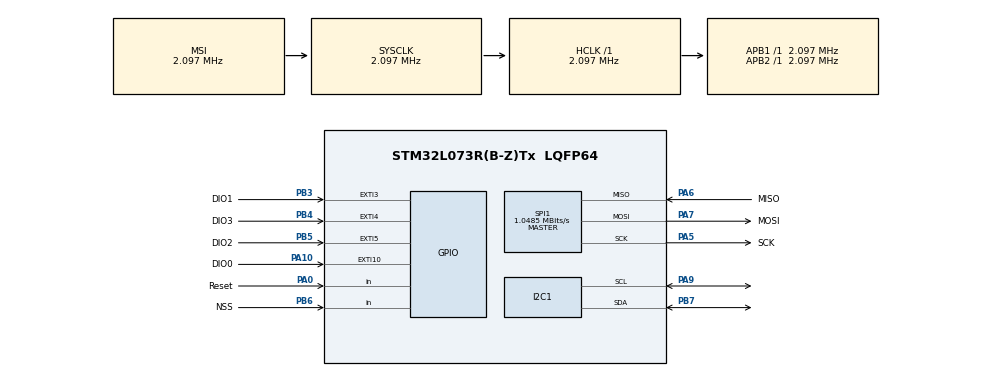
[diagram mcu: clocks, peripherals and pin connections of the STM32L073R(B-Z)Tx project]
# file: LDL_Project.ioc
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LPTIM1.ClockPrescaler=LPTIM_PRESCALER_DIV128
Mcu.Family=STM32L0
Mcu.Name=STM32L073R(B-Z)Tx
Mcu.Package=LQFP64
NVIC.EXTI2_3_IRQn=true\:1\:0\:true\:false\:true\:true\:true
NVIC.EXTI4_15_IRQn=true\:1\:0\:true\:false\:true\:true\:true
NVIC.LPTIM1_IRQn=true\:1\:0\:true\:false\:true\:true\:true
NVIC.PVD_IRQn=true\:0\:0\:false\:false\:true\:true\:true
PA0.GPIO_Label=Reset
PA0.GPIO_PuPd=GPIO_PULLUP
PA0.Signal=GPIO_Input
PA10.GPIO_Label=DIO0
PA10.Signal=GPXTI10
PA13.Mode=Serial_Wire
PA13.Signal=SYS_SWDIO
PA14.Mode=Serial_Wire
PA14.Signal=SYS_SWCLK
PA5.GPIO_Label=SCK
PA5.Mode=Full_Duplex_Master
PA5.Signal=SPI1_SCK
PA6.GPIO_Label=MISO
PA6.Mode=Full_Duplex_Master
PA6.Signal=SPI1_MISO
PA7.GPIO_Label=MOSI
PA7.Mode=Full_Duplex_Master
PA7.Signal=SPI1_MOSI
PA9.Mode=I2C
PA9.Signal=I2C1_SCL
PB3.GPIO_Label=DIO1
PB3.Signal=GPXTI3
PB4.GPIO_Label=DIO3
PB4.Signal=GPXTI4
PB5.GPIO_Label=DIO2
PB5.Signal=GPXTI5
PB6.GPIO_Label=NSS
PB6.Signal=GPIO_Input
PB7.Mode=I2C
PB7.Signal=I2C1_SDA
ProjectManager.HeapSize=0x200
ProjectManager.StackSize=0x400
ProjectManager.TargetToolchain=STM32CubeIDE
RCC.AHBFreq_Value=2097000
RCC.APB1Freq_Value=2097000
RCC.APB1TimFreq_Value=2097000
RCC.APB2Freq_Value=2097000
RCC.APB2TimFreq_Value=2097000
RCC.HSE_VALUE=8000000
RCC.HSI16_VALUE=16000000
RCC.HSI48_VALUE=48000000
RCC.HSI_VALUE=16000000
RCC.LSEState=RCC_LSE_ON
RCC.LSE_VALUE=32768
RCC.LptimClockSelection=RCC_LPTIM1CLKSOURCE_LSE
RCC.MSI_VALUE=2097000
RCC.SYSCLKFreq_VALUE=2097000
RCC.VCOOutputFreq_Value=48000000
SPI1.CalculateBaudRate=1.0485 MBits/s
SPI1.Direction=SPI_DIRECTION_2LINES
SPI1.Mode=SPI_MODE_MASTER
SPI1.VirtualType=VM_MASTER
VP_LPTIM1_VS_LPTIM_counterModeInternalClock.Mode=Counts__internal_clock_event_00
board=NUCLEO-L073RZ

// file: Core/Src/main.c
/* USER CODE BEGIN Header */
/**
  ******************************************************************************
  * @file           : main.c
  * @brief          : Main program body
  ******************************************************************************
  * @attention
  *
  * <h2><center>&copy; Copyright (c) 2020 STMicroelectronics.
  * All rights reserved.</center></h2>
  *
  * This software component is licensed by ST under BSD 3-Clause license,
  * the "License"; You may not use this file except in compliance with the
  * License. You may obtain a copy of the License at:
  *                        opensource.org/licenses/BSD-3-Clause
  *
  ******************************************************************************
  */
/* USER CODE END Header */

#include "main.h"

/* USER CODE BEGIN Includes */
#include <stdlib.h>
#include <string.h>
#include "ldl_radio.h"
#include "ldl_mac.h"
#include "ldl_sm.h"
#include "ldl_system.h"
/* USER CODE END Includes */

I2C_HandleTypeDef hi2c1;

LPTIM_HandleTypeDef hlptim1;

SPI_HandleTypeDef hspi1;

/* USER CODE BEGIN PV */

uint8_t temp;
uint8_t transmit=0;
uint8_t reciev=0;
uint8_t Cycle1;

uint32_t test1;
HAL_StatusTypeDef status;
const char *TAG = "main";
uint16_t Lpcounter;

//NOTEA Variable des paramatres environnementaux

uint8_t ENV[9];

I2C_HandleTypeDef restI2C;

SPI_HandleTypeDef resetHspi1;
uint8_t adresses[] = {0x0F ,0x10 ,0x20 ,0x21 ,
		0x22 ,0x23 ,0x24 ,0x25 ,0x27 ,0x28 ,0x29 ,0x2A
		,0x30 ,0x31 ,0x08 ,0x09 ,0x0A};

uint8_t register_[18];

/////////////////////LDL_Variables

struct ldl_radio radio;
struct ldl_mac mac;
struct ldl_sm sm;

const uint8_t device_eui [] = {
		0x00, 0xFC, 0xEC, 0x2E, 0xCB, 0x78, 0x2D, 0x2B
};

const uint8_t application_eui [] = {
		 0x70, 0xB3, 0xD5, 0x7E, 0xD0, 0x03, 0x29, 0x9D
};

const uint8_t application_key [] = {

		0x20, 0xB5, 0xDF, 0x56, 0xBA, 0xB0, 0x33, 0x90, 0x38, 0xFA, 0xCF, 0xCD, 0xDB, 0x5D, 0xDA, 0xBF
};

const uint8_t nwk_key_ptr [] = {
		0x20, 0xB5, 0xDF, 0x56, 0xBA, 0xB0, 0x33, 0x90, 0x38, 0xFA, 0xCF, 0xCD, 0xDB, 0x5D, 0xDA, 0xBF
};

/* USER CODE END PV */

void SystemClock_Config(void);
static void MX_GPIO_Init(void);
static void MX_I2C1_Init(void);
static void MX_LPTIM1_Init(void);
static void MX_SPI1_Init(void);
/* USER CODE BEGIN PFP */

////
//printf debug

///////////

uint8_t Sensor_IO_Read( void *handle,
						uint8_t SensorAddr,
						uint8_t ReadAddr,
						uint8_t *pBuffer,
						uint16_t nBytesToRead );

uint8_t Sensor_IO_Write( void *handle,
						 uint8_t SensorAddr,
						 uint8_t WriteAddr,
						 uint8_t *pBuffer,
						 uint16_t nBytesToWrite );

void LPS25HB_HTS221_Set_Config(void *handle);

uint32_t LPS25HB_Pressure_Read( void * handle);

void HTS221_Get_Temperature_Humidity(void *handle,
									 int16_t *temperature,
									 uint16_t *humidity);
void Execute_cycle(void);

//lora stuff
void app_handler(void *app,
				 enum ldl_mac_response_type type,
				 const union ldl_mac_response_arg *arg);

//UNCOM dont forget this
void enable_interrupts(void);

uint32_t GetTimer();
/* USER CODE END PFP */

int main(void)
{
  /* USER CODE BEGIN 1 */
//we send empty packets at first
//then we configure
  /* USER CODE END 1 */

  /* MCU Configuration--------------------------------------------------------*/

  /* Reset of all peripherals, Initializes the Flash interface and the Systick. */
  HAL_Init();

  /* Configure the system clock */
  SystemClock_Config();

  /* Initialize all configured peripherals */
  MX_GPIO_Init();
  MX_I2C1_Init();
  MX_LPTIM1_Init();
  MX_SPI1_Init();
  /* USER CODE BEGIN 2 */
  //PAST HERE
  initialize();
  printf("hello world");

//Initialize security module
  LDL_SM_init(&sm, application_key, nwk_key_ptr);
  LDL_INFO(TAG,"SM INIT");

//Initialise the radio

  LDL_Radio_init(&radio, LDL_RADIO_SX1272, NULL);
  LDL_INFO(TAG,"RADIO INIT");
  /* This radio has two power amplifiers. The amplifier in use
   * depends on the hardware (i.e. which pin the PCB traces connect).
   *
   * You have to tell the driver which amplifier is connected:
   *
   * - The Semtech MBED SX1272 shield uses LDL_RADIO_PA_RFO
   * - The HopeRF RFM95 SX1276 module uses LDL_RADIO_PA_BOOST
   *
   * */
  LDL_Radio_setPA(&radio, LDL_RADIO_PA_RFO);
  LDL_INFO(TAG,"RADIO PA INIT")

//Initialise The MAC LAYER
  struct ldl_mac_init_arg arg = {0};

  arg.radio = &radio;
  arg.handler = app_handler;
  arg.app = NULL;
  arg.sm = &sm;
  arg.joinEUI = application_eui;
  arg.devEUI = device_eui;

  LDL_MAC_init(&mac, LDL_EU_863_870, &arg);
  LDL_INFO(TAG,"MAC INIT");

  enable_interrupts();
  LDL_INFO(TAG,"INTERRUPT ENABLE");

  HAL_LPTIM_Counter_Start_IT(&hlptim1, 0xffff);
  //toDelete
//  for(;;){
//  HAL_SPI_TransmitReceive(&hspi1, &transmit, &reciev, 1, 0xfff);
//  HAL_GPIO_WritePin(NSS_GPIO_Port, NSS_Pin, GPIO_PIN_SET);
//  transmit++;
//  HAL_Delay(1000);
//
//  }
  /* USER CODE END 2 */
test1=(LDL_System_tps()) << 4U;
  /* Infinite loop */
  while (1)
  {

    /* USER CODE BEGIN 3 */
	  if(LDL_MAC_ready(&mac)){
		  LDL_INFO(TAG,"MAC READY");
	             if(LDL_MAC_joined(&mac)){
	            	 LDL_INFO(TAG,"JOINED ...");
	                 LDL_MAC_unconfirmedData(&mac, 1U, NULL, 0U, NULL);
	                 LDL_INFO(TAG,"UNCONFIRMED DATA");
	             }
	             else{

	                 LDL_MAC_otaa(&mac);
	                 LDL_INFO(TAG,"OTAA");
	             }
	         }
	  LDL_MAC_process(&mac);
//uint32_t waw;
//waw=(LDL_MAC_ticksUntilNextEvent(&mac) /(LDL_System_tps()/1000));
//	  HAL_Delay(waw);

  }
  /* USER CODE END 3 */
}

void SystemClock_Config(void)
{
  RCC_OscInitTypeDef RCC_OscInitStruct = {0};
  RCC_ClkInitTypeDef RCC_ClkInitStruct = {0};
  RCC_PeriphCLKInitTypeDef PeriphClkInit = {0};

  /** Configure the main internal regulator output voltage
  */
  __HAL_PWR_VOLTAGESCALING_CONFIG(PWR_REGULATOR_VOLTAGE_SCALE1);
  /** Initializes the CPU, AHB and APB busses clocks
  */
  RCC_OscInitStruct.OscillatorType = RCC_OSCILLATORTYPE_LSE|RCC_OSCILLATORTYPE_MSI;
  RCC_OscInitStruct.LSEState = RCC_LSE_ON;
  RCC_OscInitStruct.MSIState = RCC_MSI_ON;
  RCC_OscInitStruct.MSICalibrationValue = 0;
  RCC_OscInitStruct.MSIClockRange = RCC_MSIRANGE_5;
  RCC_OscInitStruct.PLL.PLLState = RCC_PLL_NONE;
  if (HAL_RCC_OscConfig(&RCC_OscInitStruct) != HAL_OK)
  {
    Error_Handler(__func__);
  }
  /** Initializes the CPU, AHB and APB busses clocks
  */
  RCC_ClkInitStruct.ClockType = RCC_CLOCKTYPE_HCLK|RCC_CLOCKTYPE_SYSCLK
                              |RCC_CLOCKTYPE_PCLK1|RCC_CLOCKTYPE_PCLK2;
  RCC_ClkInitStruct.SYSCLKSource = RCC_SYSCLKSOURCE_MSI;
  RCC_ClkInitStruct.AHBCLKDivider = RCC_SYSCLK_DIV1;
  RCC_ClkInitStruct.APB1CLKDivider = RCC_HCLK_DIV1;
  RCC_ClkInitStruct.APB2CLKDivider = RCC_HCLK_DIV1;

  if (HAL_RCC_ClockConfig(&RCC_ClkInitStruct, FLASH_LATENCY_0) != HAL_OK)
  {
    Error_Handler(__func__);
  }
  PeriphClkInit.PeriphClockSelection = RCC_PERIPHCLK_I2C1|RCC_PERIPHCLK_LPTIM1;
  PeriphClkInit.I2c1ClockSelection = RCC_I2C1CLKSOURCE_PCLK1;
  PeriphClkInit.LptimClockSelection = RCC_LPTIM1CLKSOURCE_LSE;

  if (HAL_RCCEx_PeriphCLKConfig(&PeriphClkInit) != HAL_OK)
  {
    Error_Handler(__func__);
  }
}

static void MX_I2C1_Init(void)
{

  hi2c1.Instance = I2C1;
  hi2c1.Init.Timing = 0x00000708;
  hi2c1.Init.OwnAddress1 = 0;
  hi2c1.Init.AddressingMode = I2C_ADDRESSINGMODE_7BIT;
  hi2c1.Init.DualAddressMode = I2C_DUALADDRESS_DISABLE;
  hi2c1.Init.OwnAddress2 = 0;
  hi2c1.Init.OwnAddress2Masks = I2C_OA2_NOMASK;
  hi2c1.Init.GeneralCallMode = I2C_GENERALCALL_DISABLE;
  hi2c1.Init.NoStretchMode = I2C_NOSTRETCH_DISABLE;
  if (HAL_I2C_Init(&hi2c1) != HAL_OK)
  {
    Error_Handler(__func__);
  }
  /** Configure Analogue filter
  */
  if (HAL_I2CEx_ConfigAnalogFilter(&hi2c1, I2C_ANALOGFILTER_ENABLE) != HAL_OK)
  {
    Error_Handler(__func__);
  }
  /** Configure Digital filter
  */
  if (HAL_I2CEx_ConfigDigitalFilter(&hi2c1, 0) != HAL_OK)
  {
    Error_Handler(__func__);
  }

}

static void MX_LPTIM1_Init(void)
{

  hlptim1.Instance = LPTIM1;
  hlptim1.Init.Clock.Source = LPTIM_CLOCKSOURCE_APBCLOCK_LPOSC;
  hlptim1.Init.Clock.Prescaler = LPTIM_PRESCALER_DIV2;
  hlptim1.Init.Trigger.Source = LPTIM_TRIGSOURCE_SOFTWARE;
  hlptim1.Init.OutputPolarity = LPTIM_OUTPUTPOLARITY_HIGH;
  hlptim1.Init.UpdateMode = LPTIM_UPDATE_IMMEDIATE;
  hlptim1.Init.CounterSource = LPTIM_COUNTERSOURCE_INTERNAL;
  if (HAL_LPTIM_Init(&hlptim1) != HAL_OK)
  {
    Error_Handler(__func__);
  }

}

static void MX_SPI1_Init(void)
{

  /* SPI1 parameter configuration*/
  hspi1.Instance = SPI1;
  hspi1.Init.Mode = SPI_MODE_MASTER;
  hspi1.Init.Direction = SPI_DIRECTION_2LINES;
  hspi1.Init.DataSize = SPI_DATASIZE_8BIT;
  hspi1.Init.CLKPolarity = SPI_POLARITY_LOW;
  hspi1.Init.CLKPhase = SPI_PHASE_1EDGE;
  hspi1.Init.NSS = SPI_NSS_SOFT;
  hspi1.Init.BaudRatePrescaler = SPI_BAUDRATEPRESCALER_2;
  hspi1.Init.FirstBit = SPI_FIRSTBIT_MSB;
  hspi1.Init.TIMode = SPI_TIMODE_DISABLE;
  hspi1.Init.CRCCalculation = SPI_CRCCALCULATION_DISABLE;
  hspi1.Init.CRCPolynomial = 7;
  if (HAL_SPI_Init(&hspi1) != HAL_OK)
  {
    Error_Handler(__func__);
  }

}

static void MX_GPIO_Init(void)
{
  GPIO_InitTypeDef GPIO_InitStruct = {0};

  /* GPIO Ports Clock Enable */
  __HAL_RCC_GPIOA_CLK_ENABLE();
  __HAL_RCC_GPIOB_CLK_ENABLE();

  /*Configure GPIO pin : Reset_Pin */
  GPIO_InitStruct.Pin = Reset_Pin;
  GPIO_InitStruct.Mode = GPIO_MODE_OUTPUT_PP;
  GPIO_InitStruct.Pull = GPIO_PULLUP;
  HAL_GPIO_Init(Reset_GPIO_Port, &GPIO_InitStruct);

  /*Configure GPIO pin : DIO0_Pin */
  GPIO_InitStruct.Pin = DIO0_Pin;
  GPIO_InitStruct.Mode = GPIO_MODE_IT_RISING;
  GPIO_InitStruct.Pull = GPIO_NOPULL;
  HAL_GPIO_Init(DIO0_GPIO_Port, &GPIO_InitStruct);

  /*Configure GPIO pins : DIO1_Pin DIO3_Pin DIO2_Pin */
  GPIO_InitStruct.Pin = DIO1_Pin|DIO3_Pin|DIO2_Pin;
  GPIO_InitStruct.Mode = GPIO_MODE_IT_RISING;
  GPIO_InitStruct.Pull = GPIO_NOPULL;
  HAL_GPIO_Init(GPIOB, &GPIO_InitStruct);

  /*Configure GPIO pin : NSS_Pin */
  GPIO_InitStruct.Pin = NSS_Pin;
  GPIO_InitStruct.Mode = GPIO_MODE_OUTPUT_PP;
  GPIO_InitStruct.Pull = GPIO_NOPULL;
  HAL_GPIO_Init(NSS_GPIO_Port, &GPIO_InitStruct);

  HAL_GPIO_WritePin(NSS_GPIO_Port, NSS_Pin, GPIO_PIN_SET);

}

/* USER CODE BEGIN 4 */

//Projects stuff

uint8_t Sensor_IO_Write( void *handle,uint8_t SensorAddr, uint8_t WriteAddr, uint8_t *pBuffer, uint16_t nBytesToWrite ){

	//LDL_SYSTEM_ENTER_CRITICAL(void)
	if ( nBytesToWrite > 1 ) WriteAddr |= 0x80;  /* Enable I2C multi-bytes Write */
	status=HAL_I2C_Mem_Write(handle,SensorAddr,WriteAddr,1,pBuffer,nBytesToWrite,0xff);

//	LDL_SYSTEM_LEAVE_CRITICAL(void)

	if(status!=HAL_OK){
		Error_Handler(__func__);
		  return 1;
	  }
	  return 0;
}
uint8_t Sensor_IO_Read( void *handle,uint8_t SensorAddr, uint8_t ReadAddr, uint8_t *pBuffer, uint16_t nBytesToRead ){
	//LDL_SYSTEM_ENTER_CRITICAL(void)

	if ( nBytesToRead > 1 ) ReadAddr |= 0x80; /* Enable I2C multi-bytes Read */
	status = HAL_I2C_Mem_Read(handle,SensorAddr,ReadAddr,1,pBuffer,nBytesToRead,0xff);
	//LDL_SYSTEM_LEAVE_CRITICAL(void)

	if(status!=HAL_OK){
		Error_Handler(__func__);
		  return 1;
	  }
	  return 0;
}

void LPS25HB_HTS221_Set_Config(void *handle)
{

	uint8_t Conf_reg1;
	uint8_t Conf_reg2;
	uint8_t Conf_reg3;
	uint8_t Interrupt_conf;
	uint8_t Threshold_L=(uint8_t)(16 * THRESHOLD);
	uint8_t Threshold_H=(uint8_t)(((uint16_t)(16 * THRESHOLD)) >> 8);
///////////////////////resetAZ

Conf_reg1 =  (LPS25HB_CTRL_REG1_PD | LPS25HB_CTRL_REG1_ODR_1HZ );
				status |= HAL_I2C_Mem_Write(&hi2c1,LPS25HB_ADDRESS_WRITE,LPS25HB_CTRL_REG1,1,&Conf_reg1,1,0xff);

Conf_reg2 = (LPS25HB_CTRL_REG2_AUTOZERO);
	 	 	 status |=HAL_I2C_Mem_Write(&hi2c1,LPS25HB_ADDRESS_WRITE,LPS25HB_CTRL_REG2,1,&Conf_reg2,1,0xff);

Conf_reg3=(LPS25HB_CTRL_REG3_INT_S_Pressure_LH );
	 	 	 	 status |=HAL_I2C_Mem_Write(&hi2c1,LPS25HB_ADDRESS_WRITE,LPS25HB_CTRL_REG3,1,&Conf_reg3,1,0xff);

Interrupt_conf= (LPS25HB_INTERRUPT_CFG_LIR );
status |=HAL_I2C_Mem_Write(&hi2c1,LPS25HB_ADDRESS_WRITE,LPS25HB_INTERRUPT_CFG,1,&Interrupt_conf,1,0xff);

status |=HAL_I2C_Mem_Write(&hi2c1,LPS25HB_ADDRESS_WRITE,LPS25HB_THS_P_L,1,&Threshold_L,1,0xff);

status |=HAL_I2C_Mem_Write(&hi2c1,LPS25HB_ADDRESS_WRITE,LPS25HB_THS_P_H,1,&Threshold_H,1,0xff);

status |=HAL_I2C_Mem_Read(&hi2c1,LPS25HB_ADDRESS_READ,LPS25HB_INTERRUPT_CFG,1,&Interrupt_conf,1,0xff);

Interrupt_conf|=(LPS25HB_INTERRUPT_CFG_PL_E | LPS25HB_INTERRUPT_CFG_PH_E);

status |=HAL_I2C_Mem_Write(&hi2c1,LPS25HB_ADDRESS_WRITE,LPS25HB_INTERRUPT_CFG,1,&Interrupt_conf,1,0xff);

status |=HAL_I2C_Mem_Read(&hi2c1,LPS25HB_ADDRESS_READ,LPS25HB_CTRL_REG1,1,&Conf_reg1,1,0xff);

Conf_reg1 |= (LPS25HB_CTRL_REG1_DIF_E );

status |=HAL_I2C_Mem_Write(&hi2c1,LPS25HB_ADDRESS_WRITE,LPS25HB_CTRL_REG1,1,&Conf_reg1,1,0xff);

//status |=HAL_I2C_Mem_Read(&hi2c1,LPS25HB_ADDRESS_READ,LPS25HB_CTRL_REG2,1,&Conf_reg2,1,0xff);

///////////////////////////////////////

				uint8_t buffer[2];

				  Sensor_IO_Read(handle, HTS221_ADDRESS_READ, HTS221_AV_CONF_REG, buffer, 1);

				  buffer[0] &= ~HTS221_AVGT ;
				  buffer[0] &= ~HTS221_AVGH ;

				  Sensor_IO_Write(handle, HTS221_ADDRESS_WRITE, HTS221_AV_CONF_REG, &buffer[0], 1);

				  Sensor_IO_Read(handle, HTS221_ADDRESS_READ, HTS221_CTRL_REG1, buffer, 2);

				  buffer[0] &= 0x78;

				  buffer[0] |= (HTS221_ODR | HTS221_BDU | HTS221_PD);

				  buffer[1] &= 0x7C;

				  Sensor_IO_Write(handle, HTS221_ADDRESS_WRITE, HTS221_CTRL_REG1, buffer, 2);

if(status!=HAL_OK){
	Error_Handler(__func__);
}
				  /* EXTI interrupt init*/
				  HAL_NVIC_SetPriority(EXTI4_15_IRQn, 1, 0);
				  HAL_NVIC_EnableIRQ(EXTI4_15_IRQn);
}

///////////////////////////
//read value

uint32_t LPS25HB_Pressure_Read( void * handle){

	//Local Variables
	uint8_t Buffer[3];
	uint8_t Buffer1[3];
	int32_t Raw_Pressure = 0;
	int32_t Ref_Pressure = 0;

/*	do{
		HAL_I2C_Mem_Read(&hi2c1,LPS25HB_ADDRESS_READ,LPS25HB_STATUS_REG,1,&STATUS,1,0xff);
	}while((STATUS & LPS25HB_STATUS_REG_PDA) == 0);*/
	//Read the pressure output registers
	Sensor_IO_Read(handle, LPS25HB_ADDRESS_READ, LPS25HB_PRESS_OUT_XL, Buffer, 3);

	Sensor_IO_Read(handle, LPS25HB_ADDRESS_READ, LPS25HB_PRESS_REF_XL, Buffer1, 3);

	//TRANSFOREME TO RAW PRESSURE
	Raw_Pressure = ((Buffer1[2] << 16) | (Buffer[1] << 8) | Buffer[0]);
	Ref_Pressure = ((Buffer1[2] << 16) | (Buffer1[1] << 8) | Buffer1[0]);

	//convert the 2's complement 24 bit to 2's complement 32 bit
	if (Raw_Pressure & 0x00800000)    // negative number
		{
		//convert to positive number
		Raw_Pressure |= 0xFF000000;
	  }
	if (Ref_Pressure & 0x00800000)    // negative number
		{
		//convert to positive number
		Ref_Pressure |= 0xFF000000;
	  }
	//Calculate Pressure in mbar
	return (Raw_Pressure+Ref_Pressure);
}

void HTS221_Get_Temperature_Humidity(void *handle, int16_t *temperature,uint16_t *humidity)
{
 int16_t T0_out, T1_out, T_out, T0_degC_x8_u16, T1_degC_x8_u16;
 int16_t T0_degC, T1_degC;
 uint8_t buffer[4], tmp;
 float   tmp_f;

Sensor_IO_Read(handle, HTS221_ADDRESS_READ, HTS221_T0_DEGC_X8, buffer, 2);

Sensor_IO_Read(handle, HTS221_ADDRESS_READ, HTS221_T0_T1_DEGC_H2, &tmp, 1);

 T0_degC_x8_u16 = (((uint16_t)(tmp & 0x03)) << 8) | ((uint16_t)buffer[0]);
 T1_degC_x8_u16 = (((uint16_t)(tmp & 0x0C)) << 6) | ((uint16_t)buffer[1]);
 T0_degC = T0_degC_x8_u16 >> 3;
 T1_degC = T1_degC_x8_u16 >> 3;

Sensor_IO_Read(handle, HTS221_ADDRESS_READ, HTS221_T0_OUT_L, buffer, 4);

 T0_out = (((uint16_t)buffer[1]) << 8) | (uint16_t)buffer[0];
 T1_out = (((uint16_t)buffer[3]) << 8) | (uint16_t)buffer[2];

Sensor_IO_Read(handle, HTS221_ADDRESS_READ, HTS221_TEMP_OUT_L_REG, buffer, 2);

 T_out = (((uint16_t)buffer[1]) << 8) | (uint16_t)buffer[0];

 tmp_f = (float)(T_out - T0_out) * (float)(T1_degC - T0_degC) / (float)(T1_out - T0_out)  +  T0_degC;
 tmp_f *= 10.0f;

 *temperature = ( int16_t )tmp_f;
 ////////////////////////////////////////////////

 int16_t H0_T0_out, H1_T0_out, H_T_out;
 int16_t H0_rh, H1_rh;
 tmp_f = buffer[0] = buffer[1] = buffer[2] =0;;

Sensor_IO_Read(handle, HTS221_ADDRESS_READ, HTS221_H0_RH_X2, buffer, 2);

 H0_rh = buffer[0] >> 1;
 H1_rh = buffer[1] >> 1;
Sensor_IO_Read(handle, HTS221_ADDRESS_READ, HTS221_H0_T0_OUT_L, buffer, 2);

 H0_T0_out = (((uint16_t)buffer[1]) << 8) | (uint16_t)buffer[0];

Sensor_IO_Read(handle, HTS221_ADDRESS_READ, HTS221_H1_T0_OUT_L, buffer, 2);

 H1_T0_out = (((uint16_t)buffer[1]) << 8) | (uint16_t)buffer[0];

Sensor_IO_Read(handle, HTS221_ADDRESS_READ, HTS221_HR_OUT_L_REG, buffer, 2);

 H_T_out = (((uint16_t)buffer[1]) << 8) | (uint16_t)buffer[0];

 tmp_f = (float)(H_T_out - H0_T0_out) * (float)(H1_rh - H0_rh) / (float)(H1_T0_out - H0_T0_out)  +  H0_rh;
 tmp_f *= 10.0f;

 *humidity = ( tmp_f > 1000.0f ) ? 1000
          : ( tmp_f <    0.0f ) ?    0
          : ( uint16_t )tmp_f;

}

////////////////////////////////

void Execute_cycle(void)
{
	//cycle captage
	if (Cycle1==0) {

		SET_BIT(PWR->CR, (PWR_CR_LPRUN ));

		MX_I2C1_Init();
	 	HAL_ResumeTick();

	//	for (int i = 0; i < 17; ++i) {
	//		 HAL_I2C_Mem_Read(&hi2c1,LPS25HB_ADDRESS_READ,adresses[i],1,&register_[i],1,0xff);
	//	 }

	 	//Read sensors value
	 	uint32_t temp;
	 	uint16_t temp2;
	 	uint16_t temp3;

	 	temp =LPS25HB_Pressure_Read(&hi2c1);
	 	ENV[0]=(uint8_t)temp;
	 	ENV[1]=(uint8_t)(temp>>8);
	 	ENV[2]=(uint8_t)(temp>>16);

	 	HTS221_Get_Temperature_Humidity(&hi2c1, &temp2, &temp3);

		ENV[3]=(uint8_t)temp2;
	 	ENV[4]=(uint8_t)(temp3>>8);
	 	ENV[5]=(uint8_t)(temp2);
		ENV[6]=(uint8_t)(temp3>>8);

		//set the new pressure in the pressure refrence regster
		{
			uint8_t temp=0;
			status|= HAL_I2C_Mem_Read(&hi2c1,LPS25HB_ADDRESS_READ,LPS25HB_INTERRUPT_Source,1,&temp,1,0xff);
			 temp=0;

			temp =  ( LPS25HB_CTRL_REG1_ODR_1HZ );
			status|= HAL_I2C_Mem_Write(&hi2c1,LPS25HB_ADDRESS_WRITE,LPS25HB_CTRL_REG1,1,&temp,1,0xff);

			temp =  ( LPS25HB_CTRL_REG1_ODR_1HZ | LPS25HB_CTRL_REG1_RESET_AZ);
			status|= HAL_I2C_Mem_Write(&hi2c1,LPS25HB_ADDRESS_WRITE,LPS25HB_CTRL_REG1,1,&temp,1,0xff);

			temp = (LPS25HB_CTRL_REG2_AUTOZERO);
			status |=HAL_I2C_Mem_Write(&hi2c1,LPS25HB_ADDRESS_WRITE,LPS25HB_CTRL_REG2,1,&temp,1,0xff);

			temp =  (LPS25HB_CTRL_REG1_PD | LPS25HB_CTRL_REG1_ODR_25HZ );
			status|= HAL_I2C_Mem_Write(&hi2c1,LPS25HB_ADDRESS_WRITE,LPS25HB_CTRL_REG1,1,&temp,1,0xff);

			HAL_Delay(50);

			temp =  (LPS25HB_CTRL_REG1_PD | LPS25HB_CTRL_REG1_ODR_1HZ | LPS25HB_CTRL_REG1_DIF_E);
			status|= HAL_I2C_Mem_Write(&hi2c1,LPS25HB_ADDRESS_WRITE,LPS25HB_CTRL_REG1,1,&temp,1,0xff);

		}
		HAL_I2C_MspDeInit(&hi2c1);
		//SystemClock_Config(RCC_MSIRANGE_0);
		CLEAR_BIT(PWR->CR, (PWR_CR_LPRUN ));

//		MX_ADC_Init();
//		HAL_ADC_Start(&hadc);
//		HAL_ADC_PollForConversion(&hadc, 0xff);
//		temp=HAL_ADC_GetValue(&hadc);

		ENV[7]=(uint8_t)temp;
	 	ENV[8]=(uint8_t)(temp>>8);

		//Deinit perepherals
	 	HAL_SuspendTick();
//		HAL_ADC_DeInit(&hadc);
		hi2c1 =restI2C;

		Cycle1=1;

	} else {

		MX_SPI1_Init();

		//send data through spi
/*		uint8_t AdressH,AdressL=0;
		AdressH =0x08;
		AdressL=0x64;
		HAL_GPIO_WritePin(NSS_GPIO_Port, NSS_Pin, GPIO_PIN_SET);//set CS =1

		HAL_SPI_Transmit(&hspi1,&AdressH,1,HAL_MAX_DELAY);
		HAL_SPI_Transmit(&hspi1,&AdressL,1,HAL_MAX_DELAY);

		HAL_SPI_Transmit(&hspi1,ENV,9,HAL_MAX_DELAY);

		HAL_GPIO_WritePin(NSS_GPIO_Port, NSS_Pin, GPIO_PIN_RESET);// Reset SC=0

		HAL_SPI_MspDeInit(&hspi1);
		hspi1=resetHspi1;*/

		Cycle1=0;
	}

}

//UNCOM : LORA Stuff

//Enable Interrupts after MAC initialisation

///////////////////////LORA STUFF
// dont forget to set the nss pin to 1 if refreshed project
////////////////////

//UNCOM get system time (ticks)
uint32_t LDL_System_ticks(void *app)
{
    return GetTimer(); // Provide a tick value in millisecond.
}

//UNCOM ticks per second
uint32_t LDL_System_tps(void)
{
    return 16384UL;  // Return tick frequency.
}

// UNCOM error per second
uint32_t LDL_System_eps(void)
{

    return 0UL;
}

//////////////////////// email contact@cjh.id.au

uint16_t SPI_InOut(uint16_t txData)
{
  uint16_t rxData ;
  HAL_StatusTypeDef status;
  status =HAL_SPI_TransmitReceive(&hspi1, (uint8_t *) &txData, (uint8_t *) &rxData, 1, HAL_MAX_DELAY);
  if(status!=HAL_OK)LDL_ERROR(TAG,"Error SPI");
  return rxData;
}

//UNCOM chip write
void LDL_Chip_write(void *self, uint8_t addr, const void *data, uint8_t size)
{
    /* unused in this example */
    (void)self;

    const uint8_t *ptr = (uint8_t *)data;
    uint8_t i;
    //NSS = 0;
    HAL_GPIO_WritePin( NSS_GPIO_Port, NSS_Pin, GPIO_PIN_RESET );

    {
        /* SX1272/6 set the MSb of address indicate write */
    	SPI_InOut(addr |0x80);

 //   	    LDL_INFO("SPI Transmit %d",addr)
    	  for(i=0; i < size; i++){
    		  SPI_InOut(ptr[i]);
 //       	LDL_INFO("data transmiting %d ",ptr[i])
    	  }
    }
    //NSS = 1;
    HAL_GPIO_WritePin( NSS_GPIO_Port, NSS_Pin, GPIO_PIN_SET );
}

//UNCOM chip Read
void LDL_Chip_read(void *self, uint8_t addr, void *data, uint8_t size)
{
    /* unused in this example */
    (void)self;

    uint8_t *ptr = (uint8_t *)data;
    uint8_t i;
    //NSS = 0;
    HAL_GPIO_WritePin( NSS_GPIO_Port, NSS_Pin, GPIO_PIN_RESET );
    {
        /* SX1272/6 clear the MSb of address to indicate read */

    	SPI_InOut(addr&0x7fU);

  //	 LDL_INFO("SPI Receive %d",addr)

  	  for(i=0U; i < size; i++){

      ptr[i]=SPI_InOut(0);

 // 	 LDL_INFO("SPI Receive %d",ptr[i])
        }
    }
    //NSS = 1;
    HAL_GPIO_WritePin( NSS_GPIO_Port, NSS_Pin, GPIO_PIN_SET );
}

//UNCOM chip reset
void LDL_Chip_reset(void *self, bool state)
{

 __HAL_RCC_GPIOA_CLK_ENABLE();

   GPIO_InitTypeDef initStruct = { 0 };

   initStruct.Pin = Reset_Pin ;
   initStruct.Mode =GPIO_MODE_OUTPUT_PP;
   initStruct.Pull = GPIO_NOPULL;
   initStruct.Speed = GPIO_SPEED_HIGH;
   HAL_GPIO_Init(Reset_GPIO_Port, &initStruct);
     if(state){

         // pull down
           HAL_GPIO_Init(Reset_GPIO_Port, &initStruct);

           HAL_GPIO_WritePin( Reset_GPIO_Port, Reset_Pin, SET );
     }
     else{
           initStruct.Mode = GPIO_NOPULL;
           HAL_GPIO_Init(Reset_GPIO_Port, &initStruct);
         // hiz
     }
}
////////////////////////

//UNCOM EXTI_CALLBACkS
void HAL_GPIO_EXTI_Callback(uint16_t GPIO_Pin)
{
	switch (GPIO_Pin) {
	case DIO0_Pin:
		LDL_Radio_interrupt(&radio, 0);
		break;
	case DIO1_Pin:
		LDL_Radio_interrupt(&radio, 1);
		break;
	case DIO2_Pin:
		LDL_Radio_interrupt(&radio, 2);
		break;
	case DIO3_Pin:
		LDL_Radio_interrupt(&radio, 3);
		break;
	default:
		break;
	}
}

void enable_interrupts(void){

	  HAL_NVIC_SetPriority(EXTI2_3_IRQn, 0, 0);
	  HAL_NVIC_EnableIRQ(EXTI2_3_IRQn);

	  HAL_NVIC_SetPriority(EXTI4_15_IRQn, 0, 0);
	  HAL_NVIC_EnableIRQ(EXTI4_15_IRQn);

	  HAL_NVIC_SetPriority(LPTIM1_IRQn, 0, 0);
	  HAL_NVIC_EnableIRQ(LPTIM1_IRQn);

}
//////////////////// application handler

void app_handler(void *app, enum ldl_mac_response_type type, const union ldl_mac_response_arg *arg)
{

    switch(type){

    /* Some random is required for dithering channels and scheduling
     *
     * Applications that have no better source of entropy will use this
     * event to seed the stdlib random generator.
     *
     * */
    case LDL_MAC_STARTUP:
    	LDL_INFO(TAG,"LDL_MAC_STARTUP");
        srand(arg->startup.entropy);
        break;

    /* this is data from confirmed/unconfirmed down frames */
    case LDL_MAC_RX:
    	LDL_INFO(TAG,"LDL_MAC_RX");
        (void)arg->rx.port;
        (void)arg->rx.data;
        (void)arg->rx.size;
        break;

    /* an opportunity for application to cache session */
    case LDL_MAC_SESSION_UPDATED:
    	LDL_INFO(TAG,"LDL_MAC_SESSION_UPDATED");
        (void)arg->session_updated.session;
        break;

    /* an opportunity for the application to:
     *
     * - cache the joinNonce
     * - cache the next devNonce
     * - cache session keys
     * - view join parameters (which are stored as part of session state)
     *
     * */
    case LDL_MAC_JOIN_COMPLETE:
    	LDL_INFO(TAG, "LDL_MAC_JOIN_COMPLETE nextDevNonce=%d joinNonce=%d", arg->join_complete.nextDevNonce, arg->join_complete.joinNonce);

        break;

    case LDL_MAC_CHIP_ERROR:LDL_INFO(TAG,"LDL_MAC_CHIP_ERROR");
    case LDL_MAC_RESET:LDL_INFO(TAG,"LDL_MAC_RESET");
    case LDL_MAC_JOIN_TIMEOUT:LDL_INFO(TAG,"LDL_MAC_JOIN_TIMEOUT");
    case LDL_MAC_DATA_COMPLETE:LDL_INFO(TAG,"LDL_MAC_DATA_COMPLETE");
    case LDL_MAC_DATA_TIMEOUT:LDL_INFO(TAG,"LDL_MAC_DATA_TIMEOUT");
    case LDL_MAC_DATA_NAK:LDL_INFO(TAG,"LDL_MAC_DATA_NAK");
    case LDL_MAC_LINK_STATUS:LDL_INFO(TAG,"LDL_MAC_LINK_STATUS");
    case LDL_MAC_RX1_SLOT:LDL_INFO(TAG,"LDL_MAC_RX1_SLOT");
    case LDL_MAC_RX2_SLOT:LDL_INFO(TAG,"LDL_MAC_RX2_SLOT");
    case LDL_MAC_TX_COMPLETE:LDL_INFO(TAG,"LDL_MAC_TX_COMPLETE");
    case LDL_MAC_TX_BEGIN:LDL_INFO(TAG, "LDL_MAC_TX_BEGIN devNonce=%d joinNonce=%d", mac.devNonce, mac.joinNonce);
    default:
        break;
    }
}

uint32_t GetTimer(){

	uint32_t temp2 =(uint16_t)Lpcounter;
	temp2 = (temp2 << 16);
	temp2|= HAL_LPTIM_ReadCounter(&hlptim1);

	return temp2;
}

void HAL_LPTIM_AutoReloadMatchCallback(LPTIM_HandleTypeDef *hlptim)
{
  /* Prevent unused argument(s) compilation warning */
	Lpcounter++;
  /* NOTE : This function should not be modified, when the callback is needed,
            the HAL_LPTIM_AutoReloadWriteCallback could be implemented in the user file
   */
}

/* USER CODE END 4 */

void Error_Handler(char const * caller_name)
{
}

/************************ (C) COPYRIGHT STMicroelectronics *****END OF FILE****/
